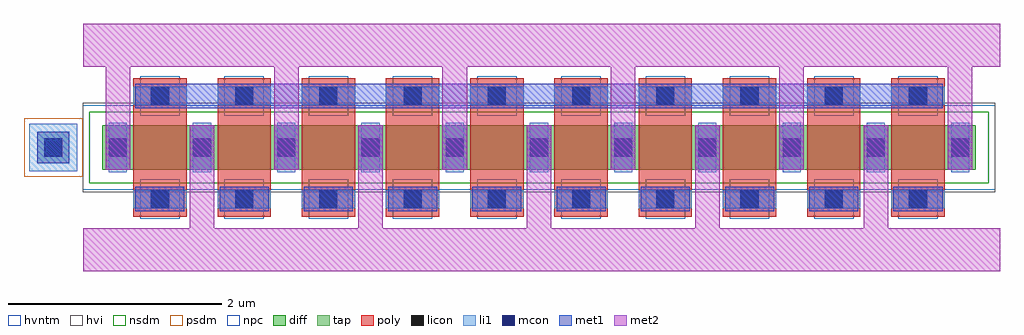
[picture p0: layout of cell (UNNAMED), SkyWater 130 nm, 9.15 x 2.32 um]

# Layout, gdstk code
import gdstk
lib = gdstk.Library(unit=1e-6, precision=1e-09)
def R(c, l, rs):  # rectangles x0, y0, x1, y1
    for r in rs: c.add(gdstk.rectangle(r[:2], r[2:], *l))
def A(c, l, x, y, w, h, nx, ny, dx, dy):  # array of equal rectangles
    R(c, l, [(x+i*dx, y+j*dy, x+i*dx+w, y+j*dy+h) for i in range(nx) for j in range(ny)])
diff = (65, 20)
tap = (65, 44)
poly = (66, 20)
licon = (66, 44)
li1 = (67, 20)
mcon = (67, 44)
met1 = (68, 20)
met2 = (69, 20)
hvi = (75, 20)
nsdm = (93, 44)
psdm = (94, 20)
npc = (95, 20)
hvntm = (125, 20)

c__unnamed_ = lib.new_cell('(UNNAMED)')
R(c__unnamed_, diff, [(0,0.44,8.19,0.86)])
A(c__unnamed_, poly, 0.29, 0, 0.5, 1.3, 10, 1, 0.79, 0)
A(c__unnamed_, licon, 0.455, 0.08, 0.17, 0.17, 10, 2, 0.79, 0.97)
A(c__unnamed_, licon, 0.06, 0.565, 0.17, 0.17, 11, 1, 0.79, 0)
R(c__unnamed_, licon, [(-0.545,0.565,-0.375,0.735)])
A(c__unnamed_, li1, 0.29, 0.08, 0.5, 0.17, 10, 2, 0.79, 0.97)
A(c__unnamed_, li1, 0.06, 0.42, 0.17, 0.46, 11, 1, 0.79, 0)
A(c__unnamed_, mcon, 0.455, 0.08, 0.17, 0.17, 10, 2, 0.79, 0.97)
A(c__unnamed_, mcon, 0.06, 0.565, 0.17, 0.17, 11, 1, 0.79, 0)
R(c__unnamed_, mcon, [(-0.545,0.565,-0.375,0.735)])
A(c__unnamed_, met1, 0.31, 0.05, 0.46, 0.23, 10, 1, 0.79, 0)
A(c__unnamed_, met1, 0.03, 0.44, 0.23, 0.42, 11, 1, 0.79, 0)
A(c__unnamed_, met1, 1.1, 1.02, 0.46, 0.23, 9, 1, 0.79, 0)
R(c__unnamed_, met1, [(7.93,0.44,8.16,0.86), (0.31,1.02,7.497,1.25)])
A(c__unnamed_, met2, 0.82, -0.509, 0.23, 1.369, 5, 1, 1.58, 0)
A(c__unnamed_, met2, 0.03, 0.44, 0.23, 1.369, 6, 1, 1.58, 0)
R(c__unnamed_, hvi, [(-0.185,0.23,8.375,1.07)])
R(c__unnamed_, nsdm, [(-0.125,0.315,8.315,0.985)])
A(c__unnamed_, npc, 0.355, -0.02, 0.37, 0.37, 10, 2, 0.79, 0.97)
R(c__unnamed_, hvntm, [(-0.185,0.255,8.375,1.045)])
c__unnamed_.add(gdstk.FlexPath([(-0.685,0.65),(-0.235,0.65)], 0.45, ends="flush", simple_path=True, layer=67, datatype=20))  # li1
c__unnamed_.add(gdstk.FlexPath([(1.01,0.731),(0.86,0.731)], 0.15, ends="flush", simple_path=True, layer=68, datatype=20))  # met1
c__unnamed_.add(gdstk.FlexPath([(2.59,0.731),(2.44,0.731)], 0.15, ends="flush", simple_path=True, layer=68, datatype=20))  # met1
c__unnamed_.add(gdstk.FlexPath([(4.17,0.731),(4.02,0.731)], 0.15, ends="flush", simple_path=True, layer=68, datatype=20))  # met1
c__unnamed_.add(gdstk.FlexPath([(5.75,0.731),(5.6,0.731)], 0.15, ends="flush", simple_path=True, layer=68, datatype=20))  # met1
c__unnamed_.add(gdstk.FlexPath([(7.33,0.731),(7.18,0.731)], 0.15, ends="flush", simple_path=True, layer=68, datatype=20))  # met1
c__unnamed_.add(gdstk.FlexPath([(0.22,0.569),(0.07,0.569)], 0.15, ends="flush", simple_path=True, layer=68, datatype=20))  # met1
c__unnamed_.add(gdstk.FlexPath([(1.8,0.569),(1.65,0.569)], 0.15, ends="flush", simple_path=True, layer=68, datatype=20))  # met1
c__unnamed_.add(gdstk.FlexPath([(3.38,0.569),(3.23,0.569)], 0.15, ends="flush", simple_path=True, layer=68, datatype=20))  # met1
c__unnamed_.add(gdstk.FlexPath([(4.96,0.569),(4.81,0.569)], 0.15, ends="flush", simple_path=True, layer=68, datatype=20))  # met1
c__unnamed_.add(gdstk.FlexPath([(6.54,0.569),(6.39,0.569)], 0.15, ends="flush", simple_path=True, layer=68, datatype=20))  # met1
c__unnamed_.add(gdstk.FlexPath([(8.12,0.569),(7.97,0.569)], 0.15, ends="flush", simple_path=True, layer=68, datatype=20))  # met1
c__unnamed_.add(gdstk.FlexPath([(-0.61,0.65),(-0.31,0.65)], 0.3, ends="flush", simple_path=True, layer=68, datatype=20))  # met1
c__unnamed_.add(gdstk.FlexPath([(1.01,0.731),(0.86,0.731)], 0.15, ends="flush", simple_path=True, layer=69, datatype=20))  # met2
c__unnamed_.add(gdstk.FlexPath([(2.59,0.731),(2.44,0.731)], 0.15, ends="flush", simple_path=True, layer=69, datatype=20))  # met2
c__unnamed_.add(gdstk.FlexPath([(4.17,0.731),(4.02,0.731)], 0.15, ends="flush", simple_path=True, layer=69, datatype=20))  # met2
c__unnamed_.add(gdstk.FlexPath([(5.75,0.731),(5.6,0.731)], 0.15, ends="flush", simple_path=True, layer=69, datatype=20))  # met2
c__unnamed_.add(gdstk.FlexPath([(7.33,0.731),(7.18,0.731)], 0.15, ends="flush", simple_path=True, layer=69, datatype=20))  # met2
c__unnamed_.add(gdstk.FlexPath([(0.22,0.569),(0.07,0.569)], 0.15, ends="flush", simple_path=True, layer=69, datatype=20))  # met2
c__unnamed_.add(gdstk.FlexPath([(1.8,0.569),(1.65,0.569)], 0.15, ends="flush", simple_path=True, layer=69, datatype=20))  # met2
c__unnamed_.add(gdstk.FlexPath([(3.38,0.569),(3.23,0.569)], 0.15, ends="flush", simple_path=True, layer=69, datatype=20))  # met2
c__unnamed_.add(gdstk.FlexPath([(4.96,0.569),(4.81,0.569)], 0.15, ends="flush", simple_path=True, layer=69, datatype=20))  # met2
c__unnamed_.add(gdstk.FlexPath([(6.54,0.569),(6.39,0.569)], 0.15, ends="flush", simple_path=True, layer=69, datatype=20))  # met2
c__unnamed_.add(gdstk.FlexPath([(8.12,0.569),(7.97,0.569)], 0.15, ends="flush", simple_path=True, layer=69, datatype=20))  # met2
c__unnamed_.add(gdstk.FlexPath([(8.219,1.609),(0.02,1.609)], 0.4, ends="extended", simple_path=True, layer=69, datatype=20))  # met2
c__unnamed_.add(gdstk.FlexPath([(8.219,-0.309),(0.02,-0.309)], 0.4, ends="extended", simple_path=True, layer=69, datatype=20))  # met2
c__unnamed_.add(gdstk.FlexPath([(-0.735,0.65),(-0.185,0.65)], 0.55, ends="flush", simple_path=True, layer=94, datatype=20))  # psdm
c__unnamed_.add(gdstk.FlexPath([(-0.61,0.65),(-0.31,0.65)], 0.3, ends="flush", simple_path=True, layer=65, datatype=44))  # tap

lib.write_gds('_UNNAMED_.gds')
